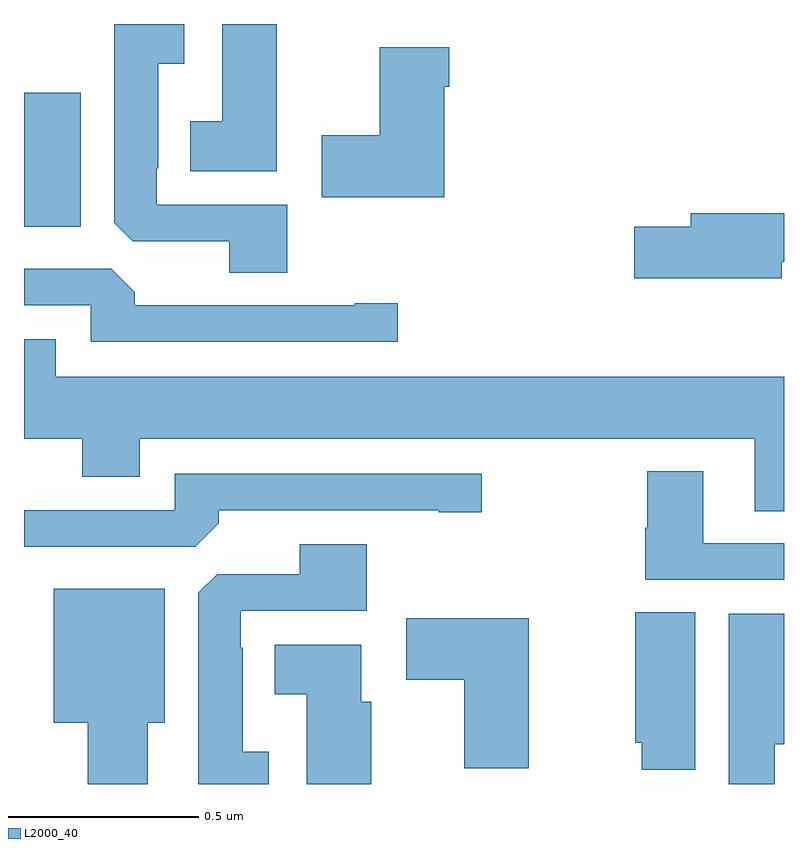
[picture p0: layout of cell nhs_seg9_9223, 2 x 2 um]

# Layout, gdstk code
import gdstk
lib = gdstk.Library(unit=1e-6, precision=1e-09)
def R(c, l, rs):  # rectangles x0, y0, x1, y1
    for r in rs: c.add(gdstk.rectangle(r[:2], r[2:], *l))
def P(c, l, *ps):  # polygons
    for p in ps: c.add(gdstk.Polygon(p, *l))
L2000_40 = (2000, 40)

nhs_seg9_9223 = lib.new_cell('nhs_seg9_9223')
R(nhs_seg9_9223, L2000_40, [(227,1208.966,227.149,1209.319)])
P(nhs_seg9_9223, L2000_40, [(227.693,1209.024),(227.349,1209.024),(227.349,1209.121),(227.353,1209.121),(227.353,1209.395),(227.422,1209.395),(227.422,1209.5),(227.237,1209.5),(227.237,1208.977),(227.286,1208.928),(227.54,1208.928),(227.54,1208.845),(227.693,1208.845)],
  [(227.665,1209.5),(227.522,1209.5),(227.522,1209.244),(227.438,1209.244),(227.438,1209.113),(227.665,1209.113)],
  [(228.106,1209.335),(228.119,1209.335),(228.119,1209.439),(227.936,1209.439),(227.936,1209.207),(227.784,1209.207),(227.784,1209.044),(228.106,1209.044)],
  [(228.994,1208.874),(229,1208.874),(229,1209.002),(228.755,1209.002),(228.755,1208.966),(228.606,1208.966),(228.606,1208.831),(228.994,1208.831)],
  [(227.983,1208.765),(227.87,1208.765),(227.87,1208.76),(227.291,1208.76),(227.291,1208.794),(227.229,1208.856),(227,1208.856),(227,1208.76),(227.175,1208.76),(227.175,1208.664),(227.983,1208.664)],
  [(229,1208.572),(227.083,1208.572),(227.083,1208.671),(227,1208.671),(227,1208.408),(227.153,1208.408),(227.153,1208.309),(227.305,1208.309),(227.305,1208.408),(228.923,1208.408),(228.923,1208.218),(229,1208.218)],
  [(229,1208.133),(228.787,1208.133),(228.787,1208.323),(228.64,1208.323),(228.64,1208.175),(228.635,1208.175),(228.635,1208.037),(229,1208.037)],
  [(227.513,1208.186),(227.513,1208.22),(228.092,1208.22),(228.092,1208.215),(228.205,1208.215),(228.205,1208.316),(227.397,1208.316),(227.397,1208.22),(227,1208.22),(227,1208.124),(227.451,1208.124)],
  [(227.644,1207.585),(227.575,1207.585),(227.575,1207.859),(227.571,1207.859),(227.571,1207.956),(227.902,1207.956),(227.902,1208.131),(227.726,1208.131),(227.726,1208.052),(227.508,1208.052),(227.459,1208.003),(227.459,1207.5),(227.644,1207.5)],
  [(227.326,1207.661),(227.371,1207.661),(227.371,1208.014),(227.078,1208.014),(227.078,1207.661),(227.168,1207.661),(227.168,1207.5),(227.326,1207.5)],
  [(228.766,1207.952),(228.608,1207.952),(228.608,1207.608),(228.625,1207.608),(228.625,1207.537),(228.766,1207.537)],
  [(228.976,1207.604),(229,1207.604),(229,1207.948),(228.854,1207.948),(228.854,1207.5),(228.976,1207.5)],
  [(228.328,1207.936),(228.006,1207.936),(228.006,1207.774),(228.158,1207.774),(228.158,1207.541),(228.328,1207.541)],
  [(227.914,1207.716),(227.887,1207.716),(227.887,1207.867),(227.66,1207.867),(227.66,1207.736),(227.744,1207.736),(227.744,1207.5),(227.914,1207.5)])

lib.write_gds('nhs_seg9_9223.gds')
